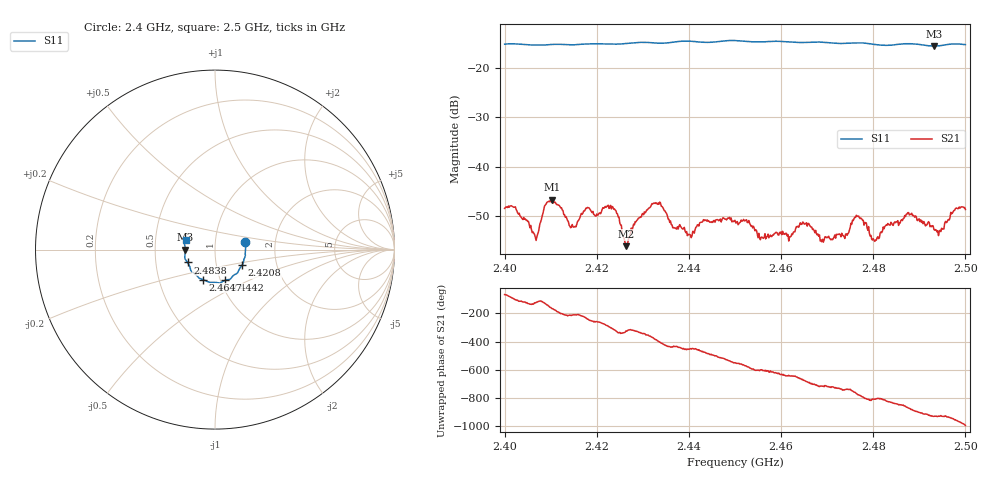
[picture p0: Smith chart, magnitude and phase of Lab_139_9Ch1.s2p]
# Hz S RI R 50
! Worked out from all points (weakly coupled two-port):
!   601 points, 2.4 GHz to 2.5 GHz, reference 50 ohm
!   highest |S21| = -46.64 dB at 2.4103 GHz (marker M1); lowest = -56.0 dB at 2.4263 GHz (marker M2)
!   lowest |S11| = -15.6 dB at 2.4932 GHz (marker M3), VSWR 1.40, Z = 35.8 - j0.0803 ohm
!   |S11| at or under -10 dB: start of sweep to end of sweep
!   S12 and S22 are empty: the file has one direction only
!   S11 on the Smith chart (normalised r, x): 2.4 GHz: 1.40, +0.12; 2.4208 GHz: 1.33, -0.24; 2.4442 GHz: 1.05, -0.37; 2.4647 GHz: 0.83, -0.29; 2.4838 GHz: 0.73, -0.11; 2.5 GHz: 0.72, +0.08
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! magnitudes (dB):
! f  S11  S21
! 2.4 GHz  -15.2  -48.4
! 2.4068 GHz  -15.4  -54.8
! 2.4103 GHz  -15.3  -46.6
! 2.4145 GHz  -15.4  -52.2
! 2.4167 GHz  -15.3  -49.4
! 2.4208 GHz  -15.2  -49.4
! 2.4238 GHz  -15.2  -48.5
! 2.4263 GHz  -15.1  -56.0
! 2.4333 GHz  -15.0  -47.3
! 2.4402 GHz  -14.6  -53.6
! 2.4442 GHz  -14.9  -51.0
! 2.45 GHz  -14.5  -50.8
! 2.4558 GHz  -14.8  -54.2
! 2.4647 GHz  -14.9  -51.1
! 2.4667 GHz  -14.8  -52.2
! 2.471 GHz  -15.0  -54.6
! 2.4768 GHz  -15.0  -49.9
! 2.4802 GHz  -15.3  -54.8
! 2.4833 GHz  -15.5  -51.6
! 2.4838 GHz  -15.4  -51.2
! 2.4932 GHz  -15.6  -52.6
! 2.5 GHz  -15.3  -48.6
